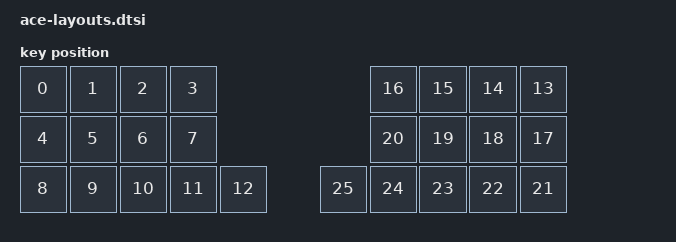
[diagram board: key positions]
#include <physical_layouts.dtsi>

/ {
    ace_layout: physical_layout_0 {
        compatible = "zmk,physical-layout";
        display-name = "ACE Split Layout";
        transform = <&ace_transform>;
        keys = <
            &key_physical_attrs 100 100 0 0 0 0 0
            &key_physical_attrs 100 100 100 0 0 0 0
            &key_physical_attrs 100 100 200 0 0 0 0
            &key_physical_attrs 100 100 300 0 0 0 0
            &key_physical_attrs 100 100 0 100 0 0 0
            &key_physical_attrs 100 100 100 100 0 0 0
            &key_physical_attrs 100 100 200 100 0 0 0
            &key_physical_attrs 100 100 300 100 0 0 0
            &key_physical_attrs 100 100 0 200 0 0 0
            &key_physical_attrs 100 100 100 200 0 0 0
            &key_physical_attrs 100 100 200 200 0 0 0
            &key_physical_attrs 100 100 300 200 0 0 0
            &key_physical_attrs 100 100 400 200 0 0 0

            &key_physical_attrs 100 100 1000 0 0 0 0
            &key_physical_attrs 100 100 900 0 0 0 0
            &key_physical_attrs 100 100 800 0 0 0 0
            &key_physical_attrs 100 100 700 0 0 0 0
            &key_physical_attrs 100 100 1000 100 0 0 0
            &key_physical_attrs 100 100 900 100 0 0 0
            &key_physical_attrs 100 100 800 100 0 0 0
            &key_physical_attrs 100 100 700 100 0 0 0
            &key_physical_attrs 100 100 1000 200 0 0 0
            &key_physical_attrs 100 100 900 200 0 0 0
            &key_physical_attrs 100 100 800 200 0 0 0
            &key_physical_attrs 100 100 700 200 0 0 0
            &key_physical_attrs 100 100 600 200 0 0 0
        >;
    };
};
